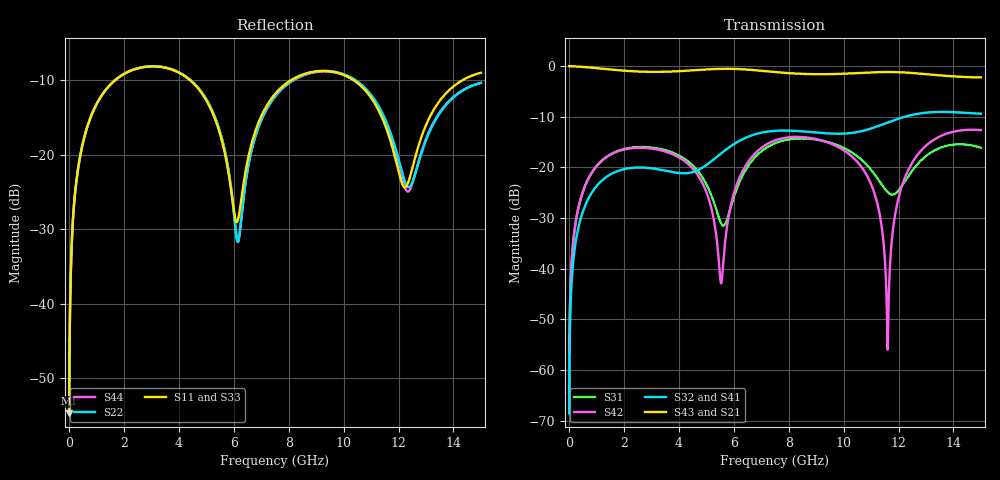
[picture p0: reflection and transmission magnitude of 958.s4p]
! Created with skrf 1.8.0 (http://scikit-rf.org).
# GHz S RI R 50.0
!freq ReS11 ImS11 ReS12 ImS12 ReS13 ImS13
! ReS14 ImS14
! ReS21 ImS21 ReS22 ImS22 ReS23 ImS23
! ReS24 ImS24
! ReS31 ImS31 ReS32 ImS32 ReS33 ImS33
! ReS34 ImS34
! ReS41 ImS41 ReS42 ImS42 ReS43 ImS43
! ReS44 ImS44
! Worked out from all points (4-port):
!   2499 points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, 5 MHz to 15 GHz, reference 50 ohm
!   strongest paths, dB at 5 MHz, 3.476 GHz, 7.19 GHz, 11.1 GHz, 15 GHz:
!     S43: 0.0, -1.1, -1.0, -1.2, -2.2
!     S21: 0.0, -1.1, -1.0, -1.2, -2.2
!     S32: -68.5, -20.6, -13.0, -12.1, -9.4
!     S41: -68.5, -20.6, -13.0, -12.1, -9.4
!     S42: -64.5, -16.8, -15.5, -24.7, -12.6
!     S31: -64.5, -16.5, -16.1, -21.1, -16.1
!   lowest |S11| = -54.7 dB at 5 MHz (marker M1), VSWR 1.00, Z = 50.1 + j0.112 ohm
!   |S11| at or under -10 dB: start of sweep to 1.675 GHz; 4.414 GHz to 8.071 GHz (3.656 GHz wide, 58.6 % of centre); 10.38 GHz to 14.32 GHz (3.942 GHz wide, 31.9 % of centre)
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0.005  0.00147 0.00111  0.9985 -0.00285  7.34e-05 0.00059  -7.13e-05 -0.000368
       0.9985 -0.00285  0.00147 0.00111  -7.13e-05 -0.000368  7.33e-05 0.00059
       7.34e-05 0.00059  -7.13e-05 -0.000368  0.00147 0.00111  0.9985 -0.00285
       -7.13e-05 -0.000368  7.33e-05 0.00059  0.9985 -0.00285  0.00147 0.00111
0.3126303  0.0199 0.0739  0.9729 -0.1783  0.00922 0.0354  -0.00755 -0.022
           0.9729 -0.1783  0.0199 0.0739  -0.00756 -0.022  0.00894 0.0355
           0.00922 0.0354  -0.00756 -0.022  0.0199 0.0739  0.9729 -0.1783
           -0.00755 -0.022  0.00894 0.0355  0.9729 -0.1783  0.0199 0.0739
1.569404  0.2386 0.1881  0.6132 -0.6895  0.1196 0.0679  -0.0855 -0.0166
          0.6132 -0.6895  0.2398 0.1874  -0.0855 -0.0165  0.1155 0.0726
          0.1196 0.0679  -0.0855 -0.0165  0.2386 0.1881  0.6132 -0.6895
          -0.0855 -0.0166  0.1155 0.0726  0.6132 -0.6895  0.2399 0.1874
6.196332  0.037 0.0152  -0.9343 -0.0251  -0.00763 0.07  0.000183 0.1824
          -0.9343 -0.0251  0.0271 0.00833  0.00152 0.1824  0.0254 0.0736
          -0.00763 0.07  0.00152 0.1824  0.0373 0.0138  -0.9343 -0.0258
          0.000183 0.1824  0.0254 0.0736  -0.9343 -0.0258  0.0267 0.00706
10.25427  0.299 -0.1318  0.2924 0.793  0.0779 -0.1203  0.183 -0.1176
          0.2924 0.793  0.3054 -0.1314  0.1818 -0.1209  0.09 -0.0962
          0.0779 -0.1203  0.1818 -0.1209  0.2943 -0.1282  0.2937 0.7945
          0.183 -0.1176  0.09 -0.0962  0.2937 0.7945  0.3001 -0.1315
11.60484  0.0953 -0.1052  0.757 0.4352  -0.0506 -0.0263  0.1334 -0.2436
          0.757 0.4352  0.1023 -0.121  0.1291 -0.2457  -0.00159 6.95e-05
          -0.0506 -0.0263  0.1291 -0.2457  0.0943 -0.0985  0.7588 0.4341
          0.1334 -0.2436  -0.00159 6.95e-05  0.7588 0.4341  0.0965 -0.1169
15  0.3515 0.053  0.3008 -0.7109  0.1547 -0.0207  -0.3301 -0.0706
    0.3008 -0.7109  0.2981 0.06  -0.3326 -0.0649  0.201 -0.1194
    0.1547 -0.0207  -0.3326 -0.0649  0.3489 0.0543  0.3015 -0.7112
    -0.3301 -0.0706  0.201 -0.1194  0.3015 -0.7112  0.2981 0.0586
